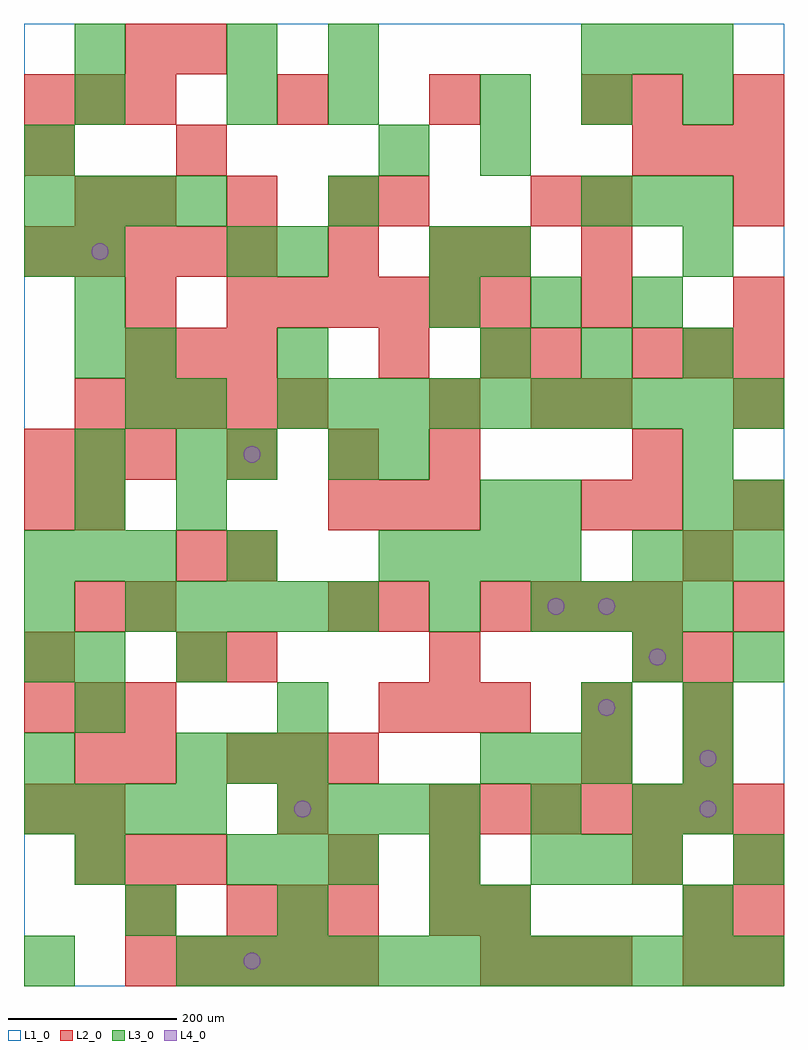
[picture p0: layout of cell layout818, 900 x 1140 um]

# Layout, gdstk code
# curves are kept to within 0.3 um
import gdstk
lib = gdstk.Library(unit=1e-6, precision=1e-09)
def R(c, l, rs):  # rectangles x0, y0, x1, y1
    for r in rs: c.add(gdstk.rectangle(r[:2], r[2:], *l))
def A(c, l, x, y, w, h, nx, ny, dx, dy):  # array of equal rectangles
    R(c, l, [(x+i*dx, y+j*dy, x+i*dx+w, y+j*dy+h) for i in range(nx) for j in range(ny)])
def P(c, l, *ps):  # polygons
    for p in ps: c.add(gdstk.Polygon(p, *l))
L1_0 = (1, 0)
L2_0 = (2, 0)
L3_0 = (3, 0)
L4_0 = (4, 0)

layout818 = lib.new_cell('layout818')
R(layout818, L1_0, [(0,0,900,1140)])
A(layout818, L2_0, 120, 0, 60, 60, 5, 1, 60, 0)
A(layout818, L2_0, 540, 0, 60, 60, 3, 1, 60, 0)
A(layout818, L2_0, 840, 0, 60, 60, 1, 3, 0, 60)
A(layout818, L2_0, 120, 60, 60, 60, 1, 3, 0, 180)
A(layout818, L2_0, 240, 60, 60, 60, 3, 2, 60, 180)
A(layout818, L2_0, 60, 120, 60, 60, 3, 1, 60, 0)
A(layout818, L2_0, 0, 180, 60, 60, 1, 3, 0, 180)
A(layout818, L2_0, 480, 180, 60, 60, 7, 1, 60, 0)
A(layout818, L2_0, 780, 240, 60, 60, 1, 3, 0, 60)
A(layout818, L2_0, 0, 300, 60, 60, 3, 2, 60, 300)
A(layout818, L2_0, 420, 300, 60, 60, 3, 1, 60, 0)
A(layout818, L2_0, 240, 360, 60, 60, 3, 1, 240, 0)
A(layout818, L2_0, 540, 420, 60, 60, 4, 1, 60, 0)
A(layout818, L2_0, 840, 420, 60, 60, 1, 6, 0, 120)
A(layout818, L2_0, 360, 540, 60, 60, 3, 1, 60, 0)
A(layout818, L2_0, 660, 540, 60, 60, 1, 3, 0, 120)
A(layout818, L2_0, 240, 600, 60, 60, 3, 1, 120, 0)
A(layout818, L2_0, 60, 660, 60, 60, 5, 1, 60, 0)
A(layout818, L2_0, 120, 720, 60, 60, 3, 1, 60, 0)
A(layout818, L2_0, 720, 720, 60, 60, 3, 2, 60, 240)
A(layout818, L2_0, 240, 780, 60, 60, 6, 1, 60, 0)
A(layout818, L2_0, 0, 840, 60, 60, 5, 1, 60, 0)
A(layout818, L2_0, 120, 900, 60, 60, 3, 1, 120, 0)
A(layout818, L2_0, 0, 1020, 60, 60, 3, 1, 60, 0)
A(layout818, L2_0, 300, 1020, 60, 60, 3, 1, 180, 0)
R(layout818, L2_0, [(780,0,840,60), (480,60,540,120), (540,60,600,120), (780,60,840,120), (360,120,420,180), (480,120,540,180), (720,120,780,180), (60,180,120,240), (300,180,360,240), (60,240,120,300), (660,240,720,300), (660,300,720,360), (180,360,240,420), (60,420,120,480), (360,420,420,480), (420,420,480,480), (180,480,240,540), (240,480,300,540), (780,480,840,540), (60,540,120,600), (720,540,780,600), (720,600,780,660), (480,660,540,720), (600,660,660,720), (420,720,480,780), (540,720,600,780), (600,720,660,780), (120,780,180,840), (360,840,420,900), (480,840,540,900), (540,840,600,900), (660,840,720,900), (60,900,120,960), (420,900,480,960), (600,900,660,960), (660,900,720,960), (0,960,60,1020), (180,960,240,1020), (720,1020,780,1080), (120,1080,180,1140), (180,1080,240,1140)])
A(layout818, L3_0, 180, 0, 60, 60, 12, 1, 60, 0)
A(layout818, L3_0, 120, 60, 60, 60, 3, 1, 180, 0)
A(layout818, L3_0, 240, 120, 60, 60, 3, 1, 60, 0)
A(layout818, L3_0, 600, 120, 60, 60, 3, 1, 60, 0)
A(layout818, L3_0, 0, 180, 60, 60, 4, 2, 60, 720)
A(layout818, L3_0, 300, 180, 60, 60, 4, 1, 60, 0)
A(layout818, L3_0, 780, 180, 60, 60, 1, 3, 0, 60)
A(layout818, L3_0, 180, 240, 60, 60, 3, 1, 60, 0)
A(layout818, L3_0, 540, 240, 60, 60, 3, 1, 60, 0)
A(layout818, L3_0, 120, 420, 60, 60, 5, 1, 60, 0)
A(layout818, L3_0, 600, 420, 60, 60, 4, 1, 60, 0)
A(layout818, L3_0, 0, 480, 60, 60, 3, 1, 60, 0)
A(layout818, L3_0, 420, 480, 60, 60, 4, 1, 60, 0)
A(layout818, L3_0, 720, 480, 60, 60, 3, 1, 60, 0)
A(layout818, L3_0, 180, 540, 60, 60, 1, 3, 0, 60)
A(layout818, L3_0, 300, 660, 60, 60, 10, 1, 60, 0)
A(layout818, L3_0, 60, 720, 60, 60, 1, 3, 0, 60)
A(layout818, L3_0, 540, 720, 60, 60, 3, 2, 120, 300)
A(layout818, L3_0, 480, 780, 60, 60, 3, 1, 120, 0)
A(layout818, L3_0, 660, 900, 60, 60, 3, 2, 60, 180)
R(layout818, L3_0, [(0,0,60,60), (540,60,600,120), (780,60,840,120), (60,120,120,180), (480,120,540,180), (840,120,900,180), (600,180,660,240), (720,180,780,240), (0,240,60,300), (60,300,120,360), (300,300,360,360), (660,300,720,360), (0,360,60,420), (60,360,120,420), (180,360,240,420), (720,360,780,420), (840,360,900,420), (0,420,60,480), (480,420,540,480), (240,480,300,540), (60,540,120,600), (540,540,600,600), (600,540,660,600), (780,540,840,600), (840,540,900,600), (60,600,120,660), (240,600,300,660), (360,600,420,660), (420,600,480,660), (780,600,840,660), (120,660,180,720), (120,720,180,780), (300,720,360,780), (0,840,60,900), (240,840,300,900), (300,840,360,900), (480,840,540,900), (540,840,600,900), (780,840,840,900), (360,900,420,960), (0,960,60,1020), (420,960,480,1020), (540,960,600,1020), (60,1020,120,1080), (240,1020,300,1080), (360,1020,420,1080), (60,1080,120,1140), (240,1080,300,1140), (360,1080,420,1140)])
P(layout818, L4_0, [(100,870),(99.239,873.827),(97.071,877.071),(93.827,879.239),(90,880),(86.173,879.239),(82.929,877.071),(80.761,873.827),(80,870),(80.761,866.173),(82.929,862.929),(86.173,860.761),(90,860),(93.827,860.761),(97.071,862.929),(99.239,866.173)],
  [(280,30),(279.239,33.827),(277.071,37.071),(273.827,39.239),(270,40),(266.173,39.239),(262.929,37.071),(260.761,33.827),(260,30),(260.761,26.173),(262.929,22.929),(266.173,20.761),(270,20),(273.827,20.761),(277.071,22.929),(279.239,26.173)],
  [(280,630),(279.239,633.827),(277.071,637.071),(273.827,639.239),(270,640),(266.173,639.239),(262.929,637.071),(260.761,633.827),(260,630),(260.761,626.173),(262.929,622.929),(266.173,620.761),(270,620),(273.827,620.761),(277.071,622.929),(279.239,626.173)],
  [(340,210),(339.239,213.827),(337.071,217.071),(333.827,219.239),(330,220),(326.173,219.239),(322.929,217.071),(320.761,213.827),(320,210),(320.761,206.173),(322.929,202.929),(326.173,200.761),(330,200),(333.827,200.761),(337.071,202.929),(339.239,206.173)],
  [(640,450),(639.239,453.827),(637.071,457.071),(633.827,459.239),(630,460),(626.173,459.239),(622.929,457.071),(620.761,453.827),(620,450),(620.761,446.173),(622.929,442.929),(626.173,440.761),(630,440),(633.827,440.761),(637.071,442.929),(639.239,446.173)],
  [(700,330),(699.239,333.827),(697.071,337.071),(693.827,339.239),(690,340),(686.173,339.239),(682.929,337.071),(680.761,333.827),(680,330),(680.761,326.173),(682.929,322.929),(686.173,320.761),(690,320),(693.827,320.761),(697.071,322.929),(699.239,326.173)],
  [(700,450),(699.239,453.827),(697.071,457.071),(693.827,459.239),(690,460),(686.173,459.239),(682.929,457.071),(680.761,453.827),(680,450),(680.761,446.173),(682.929,442.929),(686.173,440.761),(690,440),(693.827,440.761),(697.071,442.929),(699.239,446.173)],
  [(760,390),(759.239,393.827),(757.071,397.071),(753.827,399.239),(750,400),(746.173,399.239),(742.929,397.071),(740.761,393.827),(740,390),(740.761,386.173),(742.929,382.929),(746.173,380.761),(750,380),(753.827,380.761),(757.071,382.929),(759.239,386.173)],
  [(820,210),(819.239,213.827),(817.071,217.071),(813.827,219.239),(810,220),(806.173,219.239),(802.929,217.071),(800.761,213.827),(800,210),(800.761,206.173),(802.929,202.929),(806.173,200.761),(810,200),(813.827,200.761),(817.071,202.929),(819.239,206.173)],
  [(820,270),(819.239,273.827),(817.071,277.071),(813.827,279.239),(810,280),(806.173,279.239),(802.929,277.071),(800.761,273.827),(800,270),(800.761,266.173),(802.929,262.929),(806.173,260.761),(810,260),(813.827,260.761),(817.071,262.929),(819.239,266.173)])

lib.write_gds('layout818.gds')
